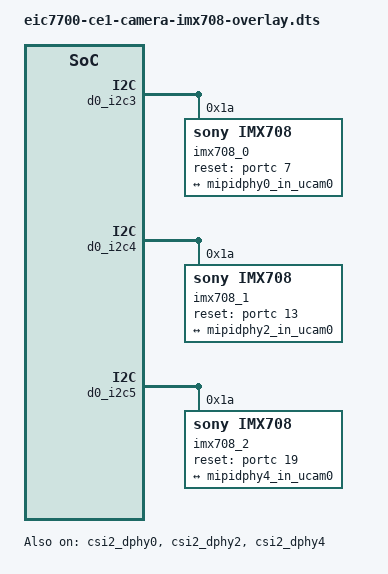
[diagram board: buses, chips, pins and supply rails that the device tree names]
/* SPDX-License-Identifier: GPL-2.0 */
/*
 * Copyright 2026, Beijing ESWIN Computing Technology Co., Ltd.. All rights reserved.
 *
 */

/dts-v1/;
/plugin/;

/ {
	fragment@0 {
		target = <&vi_subsys>;
		__overlay__ {
			phy_mode = <5>;
		};
	};

	fragment@1 {
		target = <&mipi_csi2_0>;
		__overlay__ {
			num_lanes = <2>;
		};
	};

	fragment@2 {
		target = <&mipi_csi2_2>;
		__overlay__ {
			num_lanes = <2>;
		};
	};

	fragment@3 {
		target = <&mipi_csi2_4>;
		__overlay__ {
			num_lanes = <2>;
		};
	};

	fragment@4 {
		target = <&mipidphy0_in_ucam0>;
		__overlay__ {
			remote-endpoint = <&imx708_out0>;
			data-lanes = <1 2>;
		};
	};

	fragment@5 {
		target = <&mipidphy2_in_ucam0>;
		__overlay__ {
			remote-endpoint = <&imx708_out1>;
			data-lanes = <1 2>;
		};
	};

	fragment@6 {
		target = <&mipidphy4_in_ucam0>;
		__overlay__ {
			remote-endpoint = <&imx708_out2>;
			data-lanes = <1 2>;
		};
	};

	fragment@7 {
		target = <&csi2_dphy_hw0>;
		__overlay__ {
			lanes = <1 2>;
			lanes-dp-dn = <0 0>;
		};
	};

	fragment@8 {
		target = <&csi2_dphy_hw2>;
		__overlay__ {
			lanes = <1 2>;
			lanes-dp-dn = <0 0>;
		};
	};

	fragment@9 {
		target = <&csi2_dphy_hw4>;
		__overlay__ {
			lanes = <1 2>;
			lanes-dp-dn = <0 0>;
		};
	};

	fragment@10 {
		target = <&csi2_dphy0>;
		__overlay__ {
			status = "okay";
		};
	};

	fragment@11 {
		target = <&csi2_dphy2>;
		__overlay__ {
			status = "okay";
		};
	};

	fragment@12 {
		target = <&csi2_dphy4>;
		__overlay__ {
			status = "okay";
		};
	};

	fragment@13 {
		target = <&d0_i2c3>;
		__overlay__ {
			#address-cells = <1>;
			#size-cells = <0>;
			imx708_0: imx708_0@1a {
				compatible = "sony,imx708";
				status = "okay";
				address-cells = <1>;
				size-cells = <0>;
				reg = <0x1a>;
				clocks = <&d0_clock 0x244>;
				assigned-clocks = <&d0_clock 0x244>;
				assigned-clock-rates = <24000000>;
				clock-names = "inclk";
				pinctrl-names = "default";
				pinctrl-0 = <&pinctrl_gpio71_default>;
				reset-gpio = <&portc 7 0>;
				power-domains = <&d0_pmu 2>;

				port {
					imx708_out0: endpoint {
						remote-endpoint = <&mipidphy0_in_ucam0>;
						data-lanes = <1 2>;
						link-frequencies = /bits/ 64 <450000000>;
					};
				};
			};
		};
	};

	fragment@14 {
		target = <&d0_i2c4>;
		__overlay__ {
			#address-cells = <1>;
			#size-cells = <0>;
			imx708_1: imx708_1@1a {
				compatible = "sony,imx708";
				status = "okay";
				address-cells = <1>;
				size-cells = <0>;
				reg = <0x1a>;
				clocks = <&d0_clock 0x244>;
				assigned-clocks = <&d0_clock 0x244>;
				assigned-clock-rates = <24000000>;
				clock-names = "inclk";
				pinctrl-names = "default";
				pinctrl-0 = <&pinctrl_gpio77_default>;
				reset-gpio = <&portc 13 0>;
				power-domains = <&d0_pmu 2>;

				port {
					imx708_out1: endpoint {
						remote-endpoint = <&mipidphy2_in_ucam0>;
						data-lanes = <1 2>;
						link-frequencies = /bits/ 64 <450000000>;
					};
				};
			};
		};
	};

	fragment@15 {
		target = <&d0_i2c5>;
		__overlay__ {
			#address-cells = <1>;
			#size-cells = <0>;
			imx708_2: imx708_2@1a {
				compatible = "sony,imx708";
				status = "okay";
				address-cells = <1>;
				size-cells = <0>;
				reg = <0x1a>;
				clocks = <&d0_clock 0x244>;
				assigned-clocks = <&d0_clock 0x244>;
				assigned-clock-rates = <24000000>;
				clock-names = "inclk";
				pinctrl-names = "default";
				pinctrl-0 = <&pinctrl_gpio83_default>;
				reset-gpio = <&portc 19 0>;
				power-domains = <&d0_pmu 2>;

				port {
					imx708_out2: endpoint {
						remote-endpoint = <&mipidphy4_in_ucam0>;
						data-lanes = <1 2>;
						link-frequencies = /bits/ 64 <450000000>;
					};
				};
			};
		};
	};

	fragment@18 {
		target = <&imx219_0>;
		__overlay__ {
			status="disabled";
		};
	};

	fragment@19 {
		target = <&imx219_1>;
		__overlay__ {
			status="disabled";
		};
	};

	fragment@20 {
		target = <&imx219_2>;
		__overlay__ {
			status="disabled";
		};
	};
};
